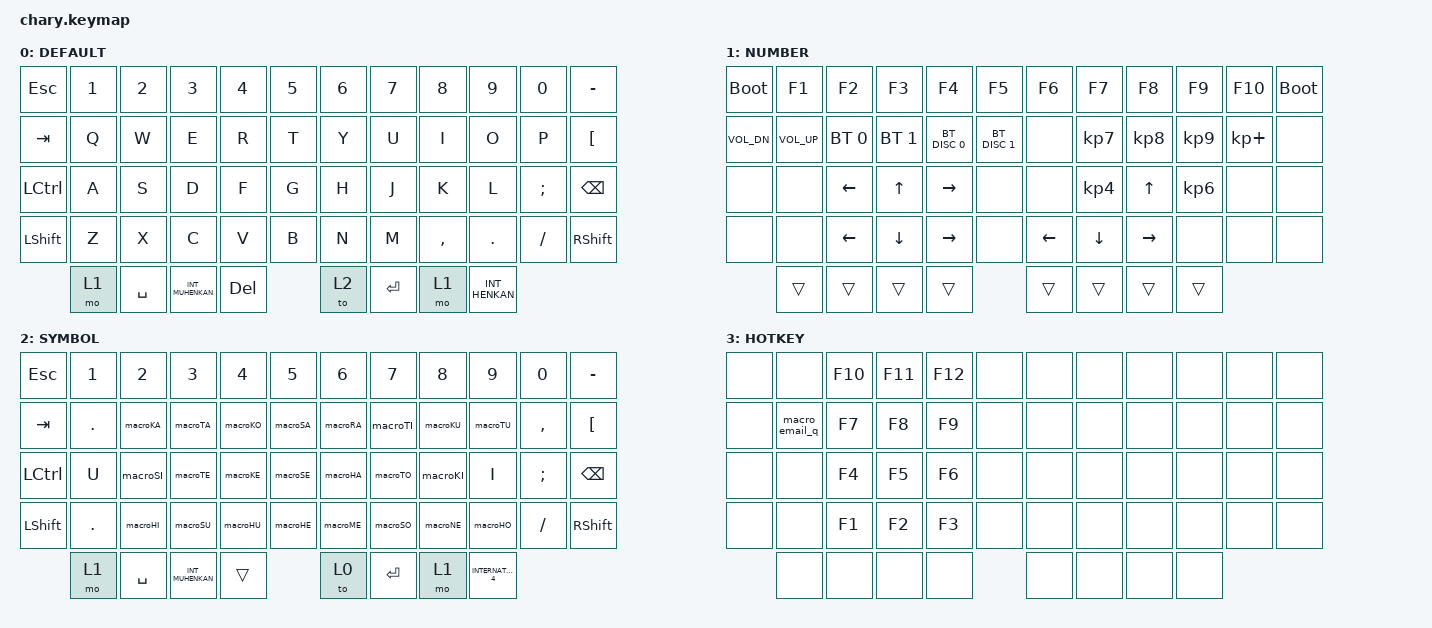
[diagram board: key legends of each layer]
#include <dt-bindings/zmk/mouse.h>
#include <behaviors.dtsi>
#include <dt-bindings/zmk/bt.h>
#include <dt-bindings/zmk/keys.h>

#define DEFAULT 0
#define NUMBER  1
#define SYMBOL  2
#define HOTKEY  3

#define AS(keycode) &as LS(keycode) keycode

/ {
    macros {
        macro_email_q: macro_email_q {
            // 714448168@qq.com

            label = "MACRO_EMAIL_QQ";
            compatible = "zmk,behavior-macro";
            #binding-cells = <0>;
            bindings = <&kp N7 &kp N1 &kp N4 &kp N4 &kp N4 &kp N8 &kp N1 &kp N6 &kp N8 &kp AT &kp Q &kp Q &kp DOT &kp C &kp O &kp M>;
        };

        GUANJIANCI: GUANJIANCI {
            compatible = "zmk,behavior-macro";
            label = "new_macro";
            #binding-cells = <0>;
            bindings = <&kp LSHIFT &kp LBKT &kp RBKT &kp LEFT &kp LSHIFT>;
        };

        macroKA: macroKA {
            compatible = "zmk,behavior-macro";
            #binding-cells = <0>;
            bindings = <&kp K &kp A>;
            label = "MACROKA";
        };

        macroKI: macroKI {
            compatible = "zmk,behavior-macro";
            #binding-cells = <0>;
            bindings = <&kp K &kp I>;
            label = "MACROKI";
        };

        macroKU: macroKU {
            compatible = "zmk,behavior-macro";
            #binding-cells = <0>;
            bindings = <&kp K &kp U>;
            label = "MACROKU";
        };

        macroKE: macroKE {
            compatible = "zmk,behavior-macro";
            #binding-cells = <0>;
            bindings = <&kp K &kp E>;
            label = "MACROKE";
        };

        macroKO: macroKO {
            compatible = "zmk,behavior-macro";
            #binding-cells = <0>;
            bindings = <&kp K &kp O>;
            label = "MACROKO";
        };

        macroSA: macroSA {
            compatible = "zmk,behavior-macro";
            #binding-cells = <0>;
            bindings = <&kp S &kp A>;
            label = "MACROSA";
        };

        macroSI: macroSI {
            compatible = "zmk,behavior-macro";
            #binding-cells = <0>;
            bindings = <&kp S &kp I>;
            label = "MACROSI";
        };

        macroSU: macroSU {
            compatible = "zmk,behavior-macro";
            #binding-cells = <0>;
            bindings = <&kp S &kp U>;
            label = "MACROSU";
        };

        macroSE: macroSE {
            compatible = "zmk,behavior-macro";
            #binding-cells = <0>;
            bindings = <&kp S &kp E>;
            label = "MACROSE";
        };

        macroSO: macroSO {
            compatible = "zmk,behavior-macro";
            #binding-cells = <0>;
            bindings = <&kp S &kp O>;
            label = "MACROSO";
        };

        macroTA: macroTA {
            compatible = "zmk,behavior-macro";
            #binding-cells = <0>;
            bindings = <&kp T &kp A>;
            label = "MACROTA";
        };

        macroTI: macroTI {
            compatible = "zmk,behavior-macro";
            #binding-cells = <0>;
            bindings = <&kp T &kp I>;
            label = "MACROTI";
        };

        macroTU: macroTU {
            compatible = "zmk,behavior-macro";
            #binding-cells = <0>;
            bindings = <&kp T &kp U>;
            label = "MACROTU";
        };

        macroTE: macroTE {
            compatible = "zmk,behavior-macro";
            #binding-cells = <0>;
            bindings = <&kp T &kp E>;
            label = "MACROTE";
        };

        macroTO: macroTO {
            compatible = "zmk,behavior-macro";
            #binding-cells = <0>;
            bindings = <&kp T &kp O>;
            label = "MACROTO";
        };

        macroNA: macroNA {
            compatible = "zmk,behavior-macro";
            #binding-cells = <0>;
            bindings = <&kp N &kp A>;
            label = "MACRONA";
        };

        macroNI: macroNI {
            compatible = "zmk,behavior-macro";
            #binding-cells = <0>;
            bindings = <&kp N &kp I>;
            label = "MACRONI";
        };

        macroNU: macroNU {
            compatible = "zmk,behavior-macro";
            #binding-cells = <0>;
            bindings = <&kp N &kp U>;
            label = "MACRONU";
        };

        macroNE: macroNE {
            compatible = "zmk,behavior-macro";
            #binding-cells = <0>;
            bindings = <&kp N &kp E>;
            label = "MACRONE";
        };

        macroNO: macroNO {
            compatible = "zmk,behavior-macro";
            #binding-cells = <0>;
            bindings = <&kp N &kp O>;
            label = "MACRONO";
        };

        macroHA: macroHA {
            compatible = "zmk,behavior-macro";
            #binding-cells = <0>;
            bindings = <&kp H &kp A>;
            label = "MACROHA";
        };

        macroHI: macroHI {
            compatible = "zmk,behavior-macro";
            #binding-cells = <0>;
            bindings = <&kp H &kp I>;
            label = "MACROHI";
        };

        macroHU: macroHU {
            compatible = "zmk,behavior-macro";
            #binding-cells = <0>;
            bindings = <&kp H &kp U>;
            label = "MACROHU";
        };

        macroHE: macroHE {
            compatible = "zmk,behavior-macro";
            #binding-cells = <0>;
            bindings = <&kp H &kp E>;
            label = "MACROHE";
        };

        macroHO: macroHO {
            compatible = "zmk,behavior-macro";
            #binding-cells = <0>;
            bindings = <&kp H &kp O>;
            label = "MACROHO";
        };

        macroMA: macroMA {
            compatible = "zmk,behavior-macro";
            #binding-cells = <0>;
            bindings = <&kp M &kp A>;
            label = "MACROMA";
        };

        macroMI: macroMI {
            compatible = "zmk,behavior-macro";
            #binding-cells = <0>;
            bindings = <&kp M &kp I>;
            label = "MACROMI";
        };

        macroMU: macroMU {
            compatible = "zmk,behavior-macro";
            #binding-cells = <0>;
            bindings = <&kp M &kp U>;
            label = "MACROMU";
        };

        macroME: macroME {
            compatible = "zmk,behavior-macro";
            #binding-cells = <0>;
            bindings = <&kp M &kp E>;
            label = "MACROME";
        };

        macroMO: macroMO {
            compatible = "zmk,behavior-macro";
            #binding-cells = <0>;
            bindings = <&kp M &kp O>;
            label = "MACROMO";
        };

        macroYA: macroYA {
            compatible = "zmk,behavior-macro";
            #binding-cells = <0>;
            bindings = <&kp Y &kp A>;
            label = "MACROYA";
        };

        macroYU: macroYU {
            compatible = "zmk,behavior-macro";
            #binding-cells = <0>;
            bindings = <&kp Y &kp U>;
            label = "MACROYU";
        };

        macroYO: macroYO {
            compatible = "zmk,behavior-macro";
            #binding-cells = <0>;
            bindings = <&kp Y &kp O>;
            label = "MACROYO";
        };

        macroRA: macroRA {
            compatible = "zmk,behavior-macro";
            #binding-cells = <0>;
            bindings = <&kp R &kp A>;
            label = "MACRORA";
        };

        macroRI: macroRI {
            compatible = "zmk,behavior-macro";
            #binding-cells = <0>;
            bindings = <&kp R &kp I>;
            label = "MACRORI";
        };

        macroRU: macroRU {
            compatible = "zmk,behavior-macro";
            #binding-cells = <0>;
            bindings = <&kp R &kp U>;
            label = "MACRORU";
        };

        macroRE: macroRE {
            compatible = "zmk,behavior-macro";
            #binding-cells = <0>;
            bindings = <&kp R &kp E>;
            label = "MACRORE";
        };

        macroRO: macroRO {
            compatible = "zmk,behavior-macro";
            #binding-cells = <0>;
            bindings = <&kp R &kp O>;
            label = "MACRORO";
        };

        macroWA: macroWA {
            compatible = "zmk,behavior-macro";
            #binding-cells = <0>;
            bindings = <&kp W &kp A>;
            label = "MACROWA";
        };

        macroWO: macroWO {
            compatible = "zmk,behavior-macro";
            #binding-cells = <0>;
            bindings = <&kp W &kp O>;
            label = "MACROWO";
        };

        macroNN: macroNN {
            compatible = "zmk,behavior-macro";
            #binding-cells = <0>;
            bindings = <&kp N &kp N>;
            label = "MACRONN";
        };

        macroLya: macroLya {
            compatible = "zmk,behavior-macro";
            #binding-cells = <0>;
            bindings = <&kp L &kp Y &kp A>;
            label = "MACROLYA";
        };

        macroLyu: macroLyu {
            compatible = "zmk,behavior-macro";
            #binding-cells = <0>;
            bindings = <&kp L &kp Y &kp U>;
            label = "MACROLYU";
        };

        macroLyo: macroLyo {
            compatible = "zmk,behavior-macro";
            #binding-cells = <0>;
            bindings = <&kp L &kp Y &kp O>;
            label = "MACROLYO";
        };

        macroLa: macroLa {
            compatible = "zmk,behavior-macro";
            #binding-cells = <0>;
            bindings = <&kp L &kp A>;
            label = "MACROLA";
        };

        macroLi: macroLi {
            compatible = "zmk,behavior-macro";
            #binding-cells = <0>;
            bindings = <&kp L &kp I>;
            label = "MACROLI";
        };

        macroLu: macroLu {
            compatible = "zmk,behavior-macro";
            #binding-cells = <0>;
            bindings = <&kp L &kp U>;
            label = "MACROLU";
        };

        macroLe: macroLe {
            compatible = "zmk,behavior-macro";
            #binding-cells = <0>;
            bindings = <&kp L &kp E>;
            label = "MACROLE";
        };

        macroLo: macroLo {
            compatible = "zmk,behavior-macro";
            #binding-cells = <0>;
            bindings = <&kp L &kp O>;
            label = "MACROLO";
        };

        macroPA: macroPA {
            compatible = "zmk,behavior-macro";
            #binding-cells = <0>;
            bindings = <&kp P &kp A>;
            label = "MACROPA";
        };

        macroPI: macroPI {
            compatible = "zmk,behavior-macro";
            #binding-cells = <0>;
            bindings = <&kp P &kp I>;
            label = "MACROPI";
        };

        macroPU: macroPU {
            compatible = "zmk,behavior-macro";
            #binding-cells = <0>;
            bindings = <&kp P &kp U>;
            label = "MACROPU";
        };

        macroPE: macroPE {
            compatible = "zmk,behavior-macro";
            #binding-cells = <0>;
            bindings = <&kp P &kp E>;
            label = "MACROPE";
        };

        macroPO: macroPO {
            compatible = "zmk,behavior-macro";
            #binding-cells = <0>;
            bindings = <&kp P &kp O>;
            label = "MACROPO";
        };

        macroGA: macroGA {
            compatible = "zmk,behavior-macro";
            #binding-cells = <0>;
            bindings = <&kp G &kp A>;
            label = "MACROGA";
        };

        macroGI: macroGI {
            compatible = "zmk,behavior-macro";
            #binding-cells = <0>;
            bindings = <&kp G &kp I>;
            label = "MACROGI";
        };

        macroGU: macroGU {
            compatible = "zmk,behavior-macro";
            #binding-cells = <0>;
            bindings = <&kp G &kp U>;
            label = "MACROGU";
        };

        macroGE: macroGE {
            compatible = "zmk,behavior-macro";
            #binding-cells = <0>;
            bindings = <&kp G &kp E>;
            label = "MACROGE";
        };

        macroGO: macroGO {
            compatible = "zmk,behavior-macro";
            #binding-cells = <0>;
            bindings = <&kp G &kp O>;
            label = "MACROGO";
        };

        macroZA: macroZA {
            compatible = "zmk,behavior-macro";
            #binding-cells = <0>;
            bindings = <&kp Z &kp A>;
            label = "MACROZA";
        };

        macroZI: macroZI {
            compatible = "zmk,behavior-macro";
            #binding-cells = <0>;
            bindings = <&kp Z &kp I>;
            label = "MACROZI";
        };

        macroZU: macroZU {
            compatible = "zmk,behavior-macro";
            #binding-cells = <0>;
            bindings = <&kp Z &kp U>;
            label = "MACROZU";
        };

        macroZE: macroZE {
            compatible = "zmk,behavior-macro";
            #binding-cells = <0>;
            bindings = <&kp Z &kp E>;
            label = "MACROZE";
        };

        macroZO: macroZO {
            compatible = "zmk,behavior-macro";
            #binding-cells = <0>;
            bindings = <&kp Z &kp O>;
            label = "MACROZO";
        };

        macroDA: macroDA {
            compatible = "zmk,behavior-macro";
            #binding-cells = <0>;
            bindings = <&kp D &kp A>;
            label = "MACRODA";
        };

        macroDI: macroDI {
            compatible = "zmk,behavior-macro";
            #binding-cells = <0>;
            bindings = <&kp D &kp I>;
            label = "MACRODI";
        };

        macroDU: macroDU {
            compatible = "zmk,behavior-macro";
            #binding-cells = <0>;
            bindings = <&kp D &kp U>;
            label = "MACRODU";
        };

        macroDE: macroDE {
            compatible = "zmk,behavior-macro";
            #binding-cells = <0>;
            bindings = <&kp D &kp E>;
            label = "MACRODE";
        };

        macroDO: macroDO {
            compatible = "zmk,behavior-macro";
            #binding-cells = <0>;
            bindings = <&kp D &kp O>;
            label = "MACRODO";
        };

        macroBA: macroBA {
            compatible = "zmk,behavior-macro";
            #binding-cells = <0>;
            bindings = <&kp B &kp A>;
            label = "MACROBA";
        };

        macroBI: macroBI {
            compatible = "zmk,behavior-macro";
            #binding-cells = <0>;
            bindings = <&kp B &kp I>;
            label = "MACROBI";
        };

        macroBU: macroBU {
            compatible = "zmk,behavior-macro";
            #binding-cells = <0>;
            bindings = <&kp B &kp U>;
            label = "MACROBU";
        };

        macroBE: macroBE {
            compatible = "zmk,behavior-macro";
            #binding-cells = <0>;
            bindings = <&kp B &kp E>;
            label = "MACROBE";
        };

        macroBO: macroBO {
            compatible = "zmk,behavior-macro";
            #binding-cells = <0>;
            bindings = <&kp B &kp O>;
            label = "MACROBO";
        };

        macroLTU: macroLTU {
            compatible = "zmk,behavior-macro";
            #binding-cells = <0>;
            bindings = <&kp L &kp T &kp U>;
            label = "MACROLTU";
        };
    };

    combos {
        compatible = "zmk,combos";

        lup {
            bindings = <&kp UP>;
            key-positions = <15 16>;
            layers = <0 1>;
            timeout-ms = <50>;
        };

        ldown {
            bindings = <&kp DOWN>;
            key-positions = <39 40>;
            timeout-ms = <50>;
        };

        lleft {
            bindings = <&kp LEFT>;
            key-positions = <26 27>;
            layers = <0 1>;
            timeout-ms = <50>;
        };

        lright {
            bindings = <&kp RIGHT>;
            key-positions = <27 28>;
            layers = <0 1>;
            timeout-ms = <50>;
        };

        rup {
            bindings = <&kp UP>;
            key-positions = <19 20>;
            layers = <0 1>;
            timeout-ms = <50>;
        };

        rdown {
            bindings = <&kp DOWN>;
            key-positions = <43 44>;
            timeout-ms = <50>;
        };

        rleft {
            bindings = <&kp LEFT>;
            key-positions = <31 32>;
            layers = <0 1>;
            timeout-ms = <50>;
        };

        rright {
            bindings = <&kp RIGHT>;
            key-positions = <32 33>;
            layers = <0 1>;
            timeout-ms = <50>;
        };

        ComboA {
            bindings = <&kp A>;
            key-positions = <50 26>;
        };

        ComboE {
            bindings = <&kp E>;
            key-positions = <50 14>;
        };

        ComboO {
            bindings = <&kp O>;
            key-positions = <55 31>;
        };

        ComboNA {
            bindings = <&macroNA>;
            key-positions = <50 27>;
        };

        ComboNI {
            bindings = <&macroNI>;
            key-positions = <55 19>;
        };

        ComboNU {
            bindings = <&macroNU>;
            key-positions = <55 42>;
        };

        ComboNO {
            bindings = <&macroNO>;
            key-positions = <55 32>;
        };

        ComboMA {
            bindings = <&macroMA>;
            key-positions = <55 21>;
        };

        ComboMI {
            bindings = <&macroMI>;
            key-positions = <55 30>;
        };

        ComboMU {
            bindings = <&macroMU>;
            key-positions = <55 44>;
        };

        ComboMO {
            bindings = <&macroMO>;
            key-positions = <50 29>;
        };

        ComboYA {
            bindings = <&macroYA>;
            key-positions = <50 40>;
        };

        ComboYU {
            bindings = <&macroYU>;
            key-positions = <55 43>;
        };

        ComboYO {
            bindings = <&macroYO>;
            key-positions = <55 18>;
        };

        ComboRI {
            bindings = <&macroRI>;
            key-positions = <50 15>;
        };

        ComboRU {
            bindings = <&macroRU>;
            key-positions = <50 20>;
        };

        ComboRE {
            bindings = <&macroRE>;
            key-positions = <50 17>;
        };

        ComboRO {
            bindings = <&macroRO>;
            key-positions = <50 39>;
        };

        ComboWA {
            bindings = <&macroWA>;
            key-positions = <55 45>;
        };

        ComboWO {
            bindings = <&macroWO>;
            key-positions = <25 50>;
        };

        ComboNN {
            bindings = <&macroNN>;
            key-positions = <55 46>;
        };

        ComboLya {
            bindings = <&macroLya>;
            key-positions = <50 16>;
        };

        ComboLyu {
            bindings = <&macroLyu>;
            key-positions = <50 28>;
        };

        ComboLyo {
            bindings = <&macroLyo>;
            key-positions = <55 33>;
        };

        ComboLA {
            bindings = <&macroLa>;
            key-positions = <50 13>;
        };

        ComboLI {
            bindings = <&macroLi>;
            key-positions = <50 41>;
        };

        ComboLU {
            bindings = <&macroLu>;
            key-positions = <50 37>;
        };

        ComboLE {
            bindings = <&macroLe>;
            key-positions = <55 22>;
        };

        ComboLO {
            bindings = <&macroLo>;
            key-positions = <55 46>;
        };

        ComboPA {
            bindings = <&macroPA>;
            key-positions = <36 30>;
        };

        ComboPI {
            bindings = <&macroPA>;
            key-positions = <36 47>;
        };

        ComboPU {
            bindings = <&macroPU>;
            key-positions = <47 40>;
        };

        ComboPE {
            bindings = <&macroPE>;
            key-positions = <41 47>;
        };

        ComboPO {
            bindings = <&macroPO>;
            key-positions = <36 45>;
        };

        ComboGA {
            bindings = <&macroGA>;
            key-positions = <55 14>;
        };

        ComboGI {
            bindings = <&macroGI>;
            key-positions = <50 32>;
        };

        ComboGU {
            bindings = <&macroGU>;
            key-positions = <50 20>;
        };

        ComboGE {
            bindings = <&macroGE>;
            key-positions = <55 28>;
        };

        ComboGO {
            bindings = <&macroGO>;
            key-positions = <50 19>;
        };

        ComboZA {
            bindings = <&macroZA>;
            key-positions = <50 18>;
        };

        ComboZI {
            bindings = <&macroZI>;
            key-positions = <55 26>;
        };

        ComboZU {
            bindings = <&macroZU>;
            key-positions = <38 55>;
        };

        ComboZE {
            bindings = <&macroZE>;
            key-positions = <29 55>;
        };

        ComboZO {
            bindings = <&macroZO>;
            key-positions = <50 43>;
        };

        ComboDA {
            bindings = <&macroDA>;
            key-positions = <14 55>;
        };

        ComboDI {
            bindings = <&macroDI>;
            key-positions = <50 19>;
        };

        ComboDU {
            bindings = <&macroDU>;
            key-positions = <50 21>;
        };

        ComboDE {
            bindings = <&macroDE>;
            key-positions = <27 55>;
        };

        ComboDO {
            bindings = <&macroDO>;
            key-positions = <50 31>;
        };

        ComboBA {
            bindings = <&macroBA>;
            key-positions = <50 30>;
        };

        ComboBI {
            bindings = <&macroBI>;
            key-positions = <55 38>;
        };

        ComboBU {
            bindings = <&macroBU>;
            key-positions = <40 55>;
        };

        ComboBE {
            bindings = <&macroBE>;
            key-positions = <41 55>;
        };

        ComboBO {
            bindings = <&macroBO>;
            key-positions = <50 45>;
        };

        ComboLTU {
            bindings = <&macroLTU>;
            key-positions = <55 34>;
        };
    };

    keymap {
        compatible = "zmk,keymap";

        default_layer {
            label = "DEFAULT";
            bindings = <
&kp ESCAPE        &kp N1            &kp N2     &kp N3  &kp N4  &kp N5   &kp N6  &kp N7   &kp N8     &kp N9          &kp N0    &kp MINUS
&kp TAB           &kp Q             &kp W      &kp E   &kp R   &kp T    &kp Y   &kp U    &kp I      &kp O           &kp P     &kp LEFT_BRACKET
&kp LEFT_CONTROL  &kp A             &kp S      &kp D   &kp F   &kp G    &kp H   &kp J    &kp K      &kp L           &kp SEMI  &kp BACKSPACE
&kp LSHFT         &kp Z             &kp X      &kp C   &kp V   &kp B    &kp N   &kp M    &kp COMMA  &kp DOT         &kp FSLH  &kp RSHFT
                  &mo 1  &kp SPACE  &kp INT_MUHENKAN   &kp DEL  &to 2         &kp RET  &mo 1      &kp INT_HENKAN
            >;
        };

        number_layer {
            label = "NUMBER";
            bindings = <
&bootloader     &kp F1        &kp F2        &kp F3        &kp F4         &kp F5         &kp F6  &kp F7     &kp F8     &kp F9     &kp F10      &bootloader
&kp C_VOL_DN    &kp C_VOL_UP  &bt BT_SEL 0  &bt BT_SEL 1  &bt BT_DISC 0  &bt BT_DISC 1  &none   &kp KP_N7  &kp KP_N8  &kp KP_N9  &kp KP_PLUS  &none
&none           &none         &kp LEFT      &kp UP        &kp RIGHT      &none          &none   &kp KP_N4  &kp UP     &kp KP_N6  &none        &none
&none  &none   &kp LEFT      &kp DOWN      &kp RIGHT      &none          &kp LEFT   &kp DOWN   &kp RIGHT  &none        &none  &none   
                &trans        &trans        &trans        &trans         &trans                 &trans     &trans     &trans
            >;
        };

        symbol_layer {
            label = "SYMBOL";
            bindings = <
&kp ESCAPE        &kp N1            &kp N2     &kp N3    &kp N4    &kp N5    &kp N6    &kp N7    &kp N8    &kp N9               &kp N0     &kp MINUS
&kp TAB           &kp PERIOD        &macroKA   &macroTA  &macroKO  &macroSA  &macroRA  &macroTI  &macroKU  &macroTU             &kp COMMA  &kp LEFT_BRACKET
&kp LEFT_CONTROL  &kp U             &macroSI   &macroTE  &macroKE  &macroSE  &macroHA  &macroTO  &macroKI  &kp I                &kp SEMI   &kp BACKSPACE
&kp LEFT_SHIFT    &kp PERIOD        &macroHI   &macroSU  &macroHU  &macroHE  &macroME  &macroSO  &macroNE  &macroHO             &kp SLASH  &kp RIGHT_SHIFT
                  &mo 1  &kp SPACE  &kp INT_MUHENKAN     &trans     &to 0             &kp RET   &mo 1     &kp INTERNATIONAL_4
            >;
        };

        hotkey_layer {
            label = "HOTKEY";
            bindings = <
&none  &none           &kp F10  &kp F11  &kp F12  &none  &none  &none  &none  &none  &none  &none
&none  &macro_email_q  &kp F7   &kp F8   &kp F9   &none  &none  &none  &none  &none  &none  &none
&none  &none           &kp F4   &kp F5   &kp F6   &none  &none  &none  &none  &none  &none  &none
&none  &none           &kp F1   &kp F2   &kp F3   &none  &none  &none  &none  &none  &none  &none
       &none           &none    &none    &none    &none         &none  &none  &none
            >;
        };
    };
};
